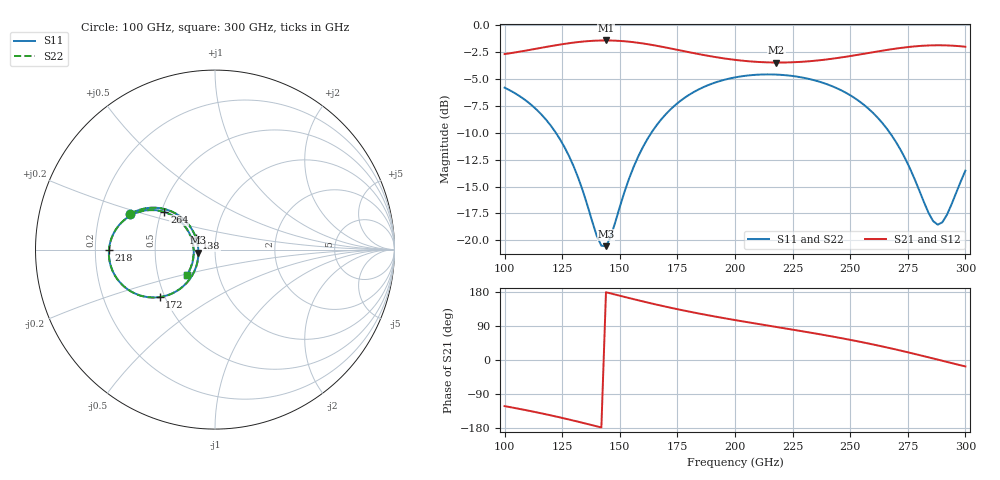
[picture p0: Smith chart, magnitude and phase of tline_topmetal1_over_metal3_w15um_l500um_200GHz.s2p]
#  GHZ S DB R 50
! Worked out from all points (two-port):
!   101 points, 100 GHz to 300 GHz, reference 50 ohm
!   highest |S21| = -1.39 dB at 144 GHz (marker M1); lowest = -3.4 dB at 218 GHz (marker M2)
!   |S21| within 3 dB of the highest: start of sweep to end of sweep
!   lowest |S11| = -20.5 dB at 144 GHz (marker M3), VSWR 1.21, Z = 41.5 - j1.41 ohm
!   |S11| at or under -10 dB: 122.3 GHz to 163.7 GHz (41.39 GHz wide, 29 % of centre); 267.2 GHz to end of sweep
!   |S22| runs from -20.6 to -4.6 dB; largest |S21 - S12| = 9.5e-14
!   S11 on the Smith chart (normalised r, x): 100 GHz: 0.33, +0.18; 138 GHz: 0.80, +0.10; 172 GHz: 0.47, -0.30; 218 GHz: 0.26, -0.00; 264 GHz: 0.52, +0.25; 300 GHz: 0.70, -0.21
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100  -5.79 157.4  -2.66 -121.7  -2.66 -121.7  -5.79 157.4
120  -9.31 140.0  -1.92 -146.0  -1.92 -146.0  -9.31 140.0
128  -12.18 136.0  -1.65 -157.1  -1.65 -157.1  -12.18 136.0
134  -15.43 138.9  -1.50 -165.9  -1.50 -165.9  -15.44 138.9
138  -18.23 149.2  -1.43 -172.0  -1.43 -172.0  -18.24 149.2
142  -20.50 173.8  -1.40 -178.1  -1.40 -178.1  -20.52 173.8
144  -20.55 -169.6  -1.39 178.8  -1.39 178.8  -20.57 -169.6
156  -13.17 -130.5  -1.56 160.5  -1.56 160.5  -13.17 -130.4
168  -8.74 -136.0  -1.97 143.4  -1.97 143.4  -8.74 -135.9
172  -7.82 -139.4  -2.14 138.0  -2.14 138.0  -7.82 -139.3
184  -5.98 -150.4  -2.65 123.1  -2.65 123.1  -5.98 -150.3
200  -4.83 -164.7  -3.20 105.4  -3.20 105.4  -4.83 -164.6
218  -4.57 -179.8  -3.45 87.1  -3.45 87.1  -4.57 -179.7
234  -5.08 167.0  -3.30 70.9  -3.30 70.9  -5.07 167.1
250  -6.49 153.7  -2.85 53.2  -2.85 53.2  -6.49 153.8
264  -9.09 143.3  -2.35 35.7  -2.35 35.7  -9.08 143.5
268  -10.23 141.3  -2.21 30.2  -2.21 30.2  -10.22 141.6
278  -14.32 143.9  -1.95 16.0  -1.95 16.0  -14.29 144.2
284  -17.44 159.6  -1.86 7.0  -1.86 7.0  -17.39 159.9
288  -18.54 -179.0  -1.84 1.0  -1.84 1.0  -18.47 -178.9
292  -17.62 -157.0  -1.86 -5.1  -1.86 -5.1  -17.56 -157.1
300  -13.52 -137.8  -1.98 -17.0  -1.98 -17.0  -13.49 -138.0
